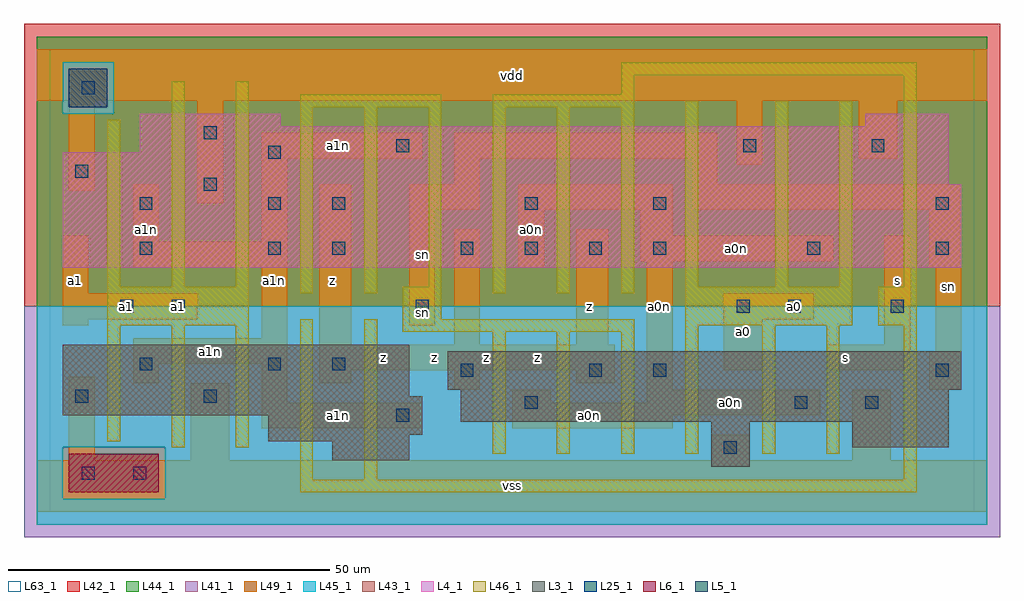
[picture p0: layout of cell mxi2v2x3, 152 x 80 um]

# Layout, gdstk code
import gdstk
lib = gdstk.Library(unit=1e-6, precision=1e-09)
def R(c, l, rs):  # rectangles x0, y0, x1, y1
    for r in rs: c.add(gdstk.rectangle(r[:2], r[2:], *l))
def A(c, l, x, y, w, h, nx, ny, dx, dy):  # array of equal rectangles
    R(c, l, [(x+i*dx, y+j*dy, x+i*dx+w, y+j*dy+h) for i in range(nx) for j in range(ny)])
L3_1 = (3, 1)
L4_1 = (4, 1)
L5_1 = (5, 1)
L6_1 = (6, 1)
L25_1 = (25, 1)
L41_1 = (41, 1)
L42_1 = (42, 1)
L43_1 = (43, 1)
L44_1 = (44, 1)
L45_1 = (45, 1)
L46_1 = (46, 1)
L49_1 = (49, 1)
L63_1 = (63, 1)

mxi2v2x3 = lib.new_cell('mxi2v2x3')
R(mxi2v2x3, L3_1, [(103,7,109,14), (44,8,56,11), (125,10,140,14), (34,11,56,12), (34,12,58,15), (64,14,140,19), (2,15,58,18), (2,18,56,26), (62,19,142,25)])
R(mxi2v2x3, L4_1, [(2,38,142,51), (2,51,140,56), (14,56,140,60), (14,60,36,62), (127,60,140,62)])
R(mxi2v2x3, L5_1, [(3,63,9,69)])
R(mxi2v2x3, L6_1, [(3,3,17,9), (3,3,17,9)])
A(mxi2v2x3, L25_1, 64, 40, 2, 2, 4, 1, 10, 0)
R(mxi2v2x3, L25_1, [(5,5,7,7), (13,5,15,7), (105,9,107,11), (54,14,56,16), (74,16,76,18), (116,16,118,18), (127,16,129,18), (4,17,6,19), (24,17,26,19), (64,21,66,23), (84,21,86,23), (94,21,96,23), (138,21,140,23), (14,22,16,24), (34,22,36,24), (44,22,46,24), (11,31,13,33), (19,31,21,33), (57,31,59,33), (107,31,109,33), (115,31,117,33), (131,31,133,33), (14,40,16,42), (34,40,36,42), (44,40,46,42), (118,40,120,42), (138,40,140,42), (14,47,16,49), (34,47,36,49), (44,47,46,49), (74,47,76,49), (94,47,96,49), (138,47,140,49), (24,50,26,52), (4,52,6,54), (34,55,36,57), (54,56,56,58), (108,56,110,58), (128,56,130,58), (24,58,26,60), (5,65,7,67)])
R(mxi2v2x3, L41_1, [(-4,-4,148,32)])
R(mxi2v2x3, L42_1, [(-4,32,148,76)])
R(mxi2v2x3, L43_1, [(3,3,17,9), (103,7,109,14), (44,8,56,11), (125,10,140,14), (34,11,56,12), (34,12,58,15), (64,14,140,19), (2,15,58,18), (2,18,56,26), (62,19,142,25), (2,38,142,51), (2,51,140,56), (14,56,140,60), (14,60,36,62), (127,60,140,62), (3,63,9,69)])
R(mxi2v2x3, L44_1, [(2,2,18,10), (-2,32,146,62), (-2,62,2,70), (10,62,146,70), (-2,70,146,74)])
R(mxi2v2x3, L45_1, [(-2,-2,146,2), (-2,2,2,10), (18,2,146,10), (-2,10,146,32), (2,62,10,70)])
A(mxi2v2x3, L46_1, 69, 9, 2, 19, 3, 1, 10, 0)
A(mxi2v2x3, L46_1, 69, 34, 2, 29, 3, 1, 10, 0)
R(mxi2v2x3, L46_1, [(39,3,135,5), (39,5,41,30), (49,5,51,30), (133,5,135,29), (99,9,101,29), (111,9,113,29), (121,9,123,29), (19,10,21,29), (29,10,31,29), (9,11,11,29), (55,28,91,30), (9,29,31,35), (99,29,125,35), (129,29,135,35), (55,30,61,35), (39,34,41,63), (49,34,51,63), (9,35,11,61), (19,35,21,67), (29,35,31,67), (59,35,61,63), (99,35,101,64), (113,35,115,64), (123,35,125,64), (133,35,135,68), (39,63,61,65), (69,63,91,65), (89,65,91,68), (89,68,135,70)])
R(mxi2v2x3, L49_1, [(-2,0,146,8), (3,8,7,21), (22,8,28,20), (103,8,109,12), (125,8,131,19), (33,13,58,17), (72,13,97,15), (72,15,120,17), (33,17,37,23), (72,17,78,19), (93,17,120,19), (63,19,67,22), (93,19,97,39), (137,19,142,25), (13,20,17,23), (42,20,47,22), (82,20,88,22), (42,22,88,26), (105,22,111,30), (121,22,134,26), (13,23,37,27), (138,25,142,38), (42,26,47,51), (63,26,67,44), (82,26,87,44), (130,26,134,43), (33,27,37,38), (2,29,6,30), (56,29,60,47), (2,30,23,34), (105,30,119,34), (2,34,6,43), (13,38,37,42), (73,38,77,47), (137,38,142,47), (92,39,122,43), (13,42,17,51), (33,42,37,55), (92,43,97,47), (56,47,67,51), (73,47,97,51), (100,47,142,51), (23,48,27,64), (3,50,7,64), (63,51,67,55), (100,51,104,55), (107,54,111,64), (33,55,58,59), (63,55,104,59), (126,55,132,64), (-2,64,146,72)])
R(mxi2v2x3, L63_1, [(0,0,144,72)])
mxi2v2x3.add(gdstk.Label('sn', (58,31), layer=49, texttype=1))
mxi2v2x3.add(gdstk.Label('a1', (20,32), layer=49, texttype=1))
mxi2v2x3.add(gdstk.Label('a1', (12,32), layer=49, texttype=1))
mxi2v2x3.add(gdstk.Label('a1', (4,36), layer=49, texttype=1))
mxi2v2x3.add(gdstk.Label('a1n', (15,44), layer=49, texttype=1))
mxi2v2x3.add(gdstk.Label('a1n', (25,25), layer=49, texttype=1))
mxi2v2x3.add(gdstk.Label('z', (52,24), layer=49, texttype=1))
mxi2v2x3.add(gdstk.Label('z', (44,36), layer=49, texttype=1))
mxi2v2x3.add(gdstk.Label('a1n', (35,36), layer=49, texttype=1))
mxi2v2x3.add(gdstk.Label('vss', (72,4), layer=49, texttype=1))
mxi2v2x3.add(gdstk.Label('a1n', (45,15), layer=49, texttype=1))
mxi2v2x3.add(gdstk.Label('z', (60,24), layer=49, texttype=1))
mxi2v2x3.add(gdstk.Label('z', (76,24), layer=49, texttype=1))
mxi2v2x3.add(gdstk.Label('z', (68,24), layer=49, texttype=1))
mxi2v2x3.add(gdstk.Label('z', (84,32), layer=49, texttype=1))
mxi2v2x3.add(gdstk.Label('a0n', (75,44), layer=49, texttype=1))
mxi2v2x3.add(gdstk.Label('sn', (58,40), layer=49, texttype=1))
mxi2v2x3.add(gdstk.Label('a1n', (45,57), layer=49, texttype=1))
mxi2v2x3.add(gdstk.Label('vdd', (72,68), layer=49, texttype=1))
mxi2v2x3.add(gdstk.Label('a0n', (84,15), layer=49, texttype=1))
mxi2v2x3.add(gdstk.Label('a0', (108,28), layer=49, texttype=1))
mxi2v2x3.add(gdstk.Label('a0n', (95,32), layer=49, texttype=1))
mxi2v2x3.add(gdstk.Label('a0n', (106,17), layer=49, texttype=1))
mxi2v2x3.add(gdstk.Label('s', (124,24), layer=49, texttype=1))
mxi2v2x3.add(gdstk.Label('a0', (116,32), layer=49, texttype=1))
mxi2v2x3.add(gdstk.Label('s', (132,36), layer=49, texttype=1))
mxi2v2x3.add(gdstk.Label('a0n', (107,41), layer=49, texttype=1))
mxi2v2x3.add(gdstk.Label('sn', (140,35), layer=49, texttype=1))

lib.write_gds('mxi2v2x3.gds')
